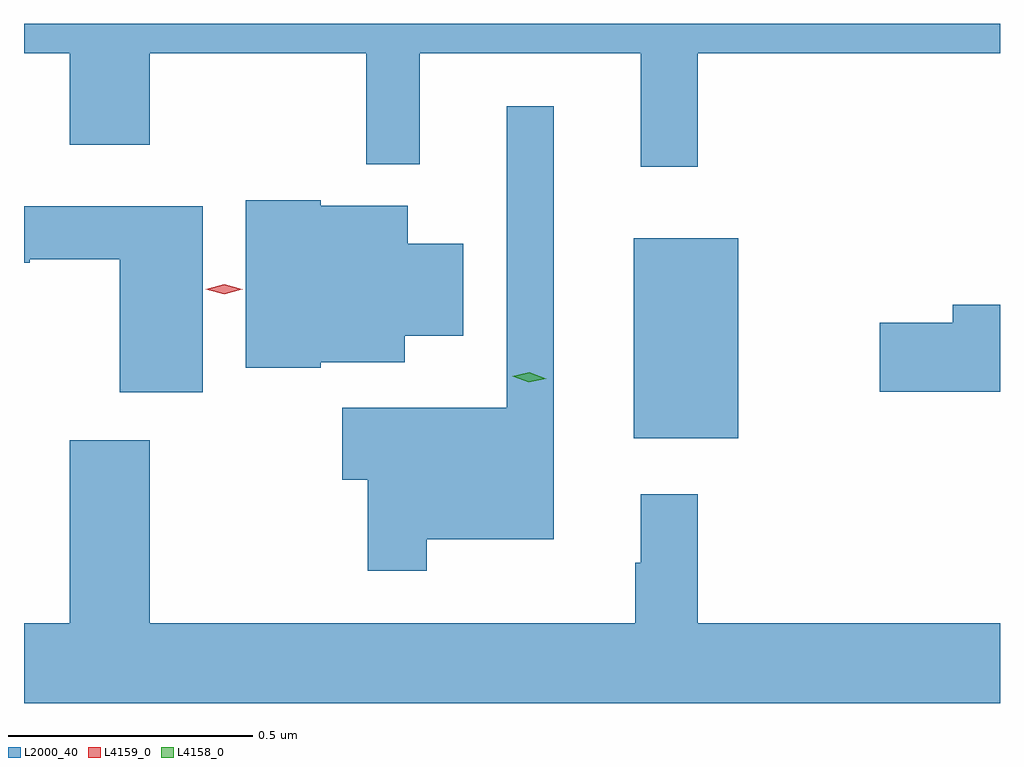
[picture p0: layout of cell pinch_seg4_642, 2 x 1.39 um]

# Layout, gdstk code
import gdstk
lib = gdstk.Library(unit=1e-6, precision=1e-09)
def R(c, l, rs):  # rectangles x0, y0, x1, y1
    for r in rs: c.add(gdstk.rectangle(r[:2], r[2:], *l))
def P(c, l, *ps):  # polygons
    for p in ps: c.add(gdstk.Polygon(p, *l))
L2000_40 = (2000, 40)
L4158_0 = (4158, 0)
L4159_0 = (4159, 0)

pinch_seg4_642 = lib.new_cell('pinch_seg4_642')
R(pinch_seg4_642, L2000_40, [(1029.299,754.739,1029.514,755.149)])
P(pinch_seg4_642, L2000_40, [(1029.431,755.528),(1030.05,755.528),(1030.05,755.588),(1028.05,755.588),(1028.05,755.528),(1028.144,755.528),(1028.144,755.34),(1028.308,755.34),(1028.308,755.528),(1028.751,755.528),(1028.751,755.3),(1028.861,755.3),(1028.861,755.528),(1029.314,755.528),(1029.314,755.295),(1029.431,755.295)],
  [(1028.875,754.532),(1029.136,754.532),(1029.136,755.419),(1029.039,755.419),(1029.039,754.801),(1028.702,754.801),(1028.702,754.654),(1028.754,754.654),(1028.754,754.467),(1028.875,754.467)],
  [(1028.658,754.895),(1028.83,754.895),(1028.83,754.949),(1028.95,754.949),(1028.95,755.137),(1028.836,755.137),(1028.836,755.215),(1028.658,755.215),(1028.658,755.227),(1028.504,755.227),(1028.504,754.883),(1028.658,754.883)],
  [(1028.416,755.214),(1028.05,755.214),(1028.05,755.098),(1028.062,755.098),(1028.062,755.106),(1028.246,755.106),(1028.246,754.833),(1028.416,754.833)],
  [(1030.05,755.012),(1029.953,755.012),(1029.953,754.976),(1029.804,754.976),(1029.804,754.834),(1030.05,754.834)],
  [(1030.05,754.36),(1029.431,754.36),(1029.431,754.624),(1029.314,754.624),(1029.314,754.484),(1029.303,754.484),(1029.303,754.36),(1028.308,754.36),(1028.308,754.735),(1028.144,754.735),(1028.144,754.36),(1028.05,754.36),(1028.05,754.196),(1030.05,754.196)])
P(pinch_seg4_642, L4158_0, [(1029.084,754.854),(1029.05,754.866),(1029.049,754.866),(1029.05,754.866),(1029.085,754.874),(1029.12,754.861),(1029.12,754.861),(1029.12,754.861)])
P(pinch_seg4_642, L4159_0, [(1028.46,755.034),(1028.422,755.044),(1028.421,755.044),(1028.422,755.044),(1028.46,755.054),(1028.497,755.044),(1028.498,755.044),(1028.497,755.044)])

lib.write_gds('pinch_seg4_642.gds')
